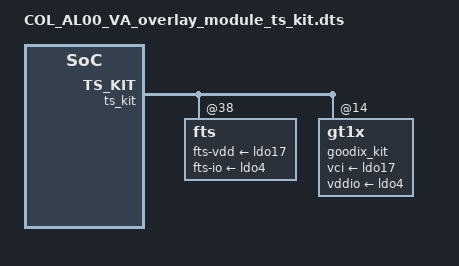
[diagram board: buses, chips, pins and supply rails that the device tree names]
/*touch_panel*/
	&ts_kit {
		bus_type = "i2c";
		bus_id = <7>;
		product = "colu";
		irq_gpio = <&gpio26 4 0>;
		aft_enable = <1>;
		fp_tp_enable = <1>;
		drv_stop_width = <0>;
		lcd_width = <0>;
		lcd_height = <0>;
		fts: touchscreen@38 {
			compatible = "fts";
			ic_type = <2>;
			x_max = <1080>;
			y_max = <2280>;
			x_max_mt = <1080>;
			y_max_mt = <2280>;
			power_self_ctrl = <1>; /*0-Power is controlled by LCD, 1-Power is self controlled*/
			pinctrl-names = "default", "idle";
			pinctrl-0 = <&gpio015_pmx_func &gpio015_pmx_func &gpio212_cfg_func &gpio212_cfg_func>;
			pinctrl-1 = <&gpio015_pmx_idle &gpio015_pmx_idle &gpio212_cfg_idle &gpio212_cfg_idle>;
			gesture_supported = <0>;
			glove_supported = <1>;
			glove_switch_addr = <0xC0>;
			vci_value = <3000000>;
			vddio_value = <1800000>;
			vci_gpio_type = <0>;
			vci_regulator_type = <1>;
			vddio_gpio_type = <0>;
			vddio_regulator_type = <1>;
			slave_address = <0x38>;
			chip_id = <0x54>;
			hard_reset_delay = <200>;
			erase_min_delay = <1350>;
			calc_crc_delay = <300>;
			reboot_delay = <300>;
			erase_query_delay = <50>;
			write_flash_query_times = <30>;
			read_ecc_query_times = <100>;
			erase_flash_query_times = <15>;
			upgrade_loop_times = <5>;
			fts-vdd-supply = <&ldo17>;
			fts-io-supply = <&ldo4>;
			irq_config = <3>;
			algo_id = <1>;
			pram_projectid_addr = <0xd7a0>;
			is_in_cell = <0>;
			support_get_tp_color = <1>;
			only_open_once_captest_threshold = <1>;
			use_lcdkit_power_notify = <1>;
			projectid_length_control_flag = <1>;
			enable_edge_touch = <1>;
			fts_edge_data_addr = <0xB7>;
			aft_wxy_enable = <1>;
			roi_supported = <1>;
			roi_switch_addr = <0xCE>;
			roi_pkg_num_addr = <0xCF>;
			holster_supported = <1>;
			holster_switch_addr = <0xC1>;
			fts,need_distinguish_lcd = <1>;
			touch_switch_flag = <2>;
			touch_switch_game_reg = <0x92>;
			hide_plain_lcd_log = <1>;
			COLU53000{
				producer = "000";
				ic_type = <2>;
				compatible = "fts-COLU53000";
				row_column_delta_test = <0>;
				lcd_noise_data_test = <1>;
				row_column_delta_test_point_by_point = <1>;
				threshold,point_by_point_judge = <1>;
				threshold,in_csv_file = <1>;
				provide_panel_id_suppot = <1>;
			};
			COLU53060{
				producer = "060";
				ic_type = <2>;
				compatible = "fts-COLU53060";
				row_column_delta_test = <0>;
				row_column_delta_test_point_by_point = <1>;
				lcd_noise_data_test = <1>;
				threshold,point_by_point_judge = <1>;
				threshold,in_csv_file = <1>;
				provide_panel_id_suppot = <1>;
			};
			COLU53020{
				producer = "020";
				ic_type = <2>;
				compatible = "fts-COLU53020";
				row_column_delta_test = <0>;
				lcd_noise_data_test = <1>;
				row_column_delta_test_point_by_point = <1>;
				threshold,point_by_point_judge = <1>;
				threshold,in_csv_file = <1>;
				provide_panel_id_suppot = <1>;
			};
			COLU53040{
				producer = "040";
				ic_type = <2>;
				compatible = "fts-COLU53040";
				row_column_delta_test = <0>;
				lcd_noise_data_test = <1>;
				row_column_delta_test_point_by_point = <1>;
				threshold,point_by_point_judge = <1>;
				threshold,in_csv_file = <1>;
				provide_panel_id_suppot = <1>;
			};
			TM {
				compatible = "fts-tm";
				lcd_hide_module_name = "110";
			};
			AUO {
				compatible = "fts-auo";
				lcd_hide_module_name = "170";
			};
			BOE {
				compatible = "fts-boe";
				lcd_hide_module_name = "130";
			};
			CTC {
				compatible = "fts-ctc";
				lcd_hide_module_name = "140";
			};
		};
 		goodix_kit: ts_kit@14 {
			compatible = "gt1x";
			algo_id = <1>;
			pinctrl-names = "default", "idle";
			pinctrl-0 = <&gpio015_pmx_func &gpio015_pmx_func &gpio212_cfg_func &gpio212_cfg_func>;
			pinctrl-1 = <&gpio015_pmx_idle &gpio015_pmx_idle &gpio212_cfg_idle &gpio212_cfg_idle>;
			vci-supply = <&ldo17>;
			vddio-supply = <&ldo4>;
			power_self_ctrl = <1>; /*0-Power is controlled by LCD, 1-Power is self controlled*/
			vci_power_type = <1>;/*0 - gpio control  1 - ldo  2 - boost & gpio*/
			vci_ldo_value = <3000000>;
			vddio_power_type = <1>;/*0 - gpio control  1 - ldo  2 - boost & gpio*/
			vddio_ldo_need_set = <0>;
			vddio_ldo_value = <1800000>;
			slave_address = <0x14>;
			irq_config = <3>;/* 0 - LOW LEVEL  1 - HIGH LEVEL  2 - RAISE EDGE  3 - FALL EDGE*/

			x_max_mt = <1080>;
			y_max_mt = <2280>;
			roi_data_size = <7 7>; /* row and colume*/
			project_id = "COLU54000";
			chip_name = "1158"; /* GT1151Q */
			module_vendor = "ofilm";

			tools_support = <1>; /* support GTP tools APK ,0:no support; 1: support*/
			roi_supported = <1>;
			holster_mode_supported = <1>;
			glove_mode_supported = <1>;
			easy_wakeup_supported = <0>;
			charger_supported = <1>;
			create_project_id_flag = <1>;
			ic_type = <0>; /* 0: 9PT, 1: 9P*/
			gt1x_test_limit = <1>;
			support_get_tp_color = <1>;
			only_open_once_captest_threshold = <1>;
			use_lcdkit_power_notify = <1>;
			gt1x_roi_data_add = <0xA534>;
			gt1x_roi_fw_supported = <0>;
			gt1x_edge_add = <0x81A1>;
			gt1x_support_wxy = <1>;
			gt1x_wxy_data_add = <0xB9B8>;
			gt1x_enable_edge_touch = <1>;
			gt1x_support_edge_xyer = <1>;
			fw_only_depend_on_lcd = <1>;
			touch_switch_flag = <2>;
			hide_plain_lcd_log = <1>;
			SENSORID2 {
				compatible = "gt1x-sensorid-2";
				panel_id = <6>;
				module_vendor = "060";
				provide_panel_id_suppot = <1>;
				project_id = "COLU54060";
			};
			SENSORID4 {
				compatible = "gt1x-sensorid-4";
				panel_id = <4>;
				module_vendor = "040";
				provide_panel_id_suppot = <1>;
				project_id = "COLU54040";
			};
			SENSORID3 {
				compatible = "gt1x-sensorid-3";
				panel_id = <2>;
				module_vendor = "020";
				provide_panel_id_suppot = <1>;
				project_id = "COLU54020";
			};
			SENSORID0 {
				compatible = "gt1x-sensorid-0";
				panel_id = <0>;
				module_vendor = "000";
				provide_panel_id_suppot = <1>;
				project_id = "COLU54000";
			};
			TM {
				compatible = "gt1x-tm";
				lcd_hide_module_name = "110";
			};
			AUO {
			    compatible = "gt1x-auo";
			    lcd_hide_module_name = "170";
			};
			BOE {
				compatible = "gt1x-boe";
				lcd_hide_module_name = "130";
			};
			CTC {
				compatible = "gt1x-ctc";
				lcd_hide_module_name = "140";
			};
			JDI {
				compatible = "gt1x-jdi";
				lcd_hide_module_name = "080";
			};
		};

	};
